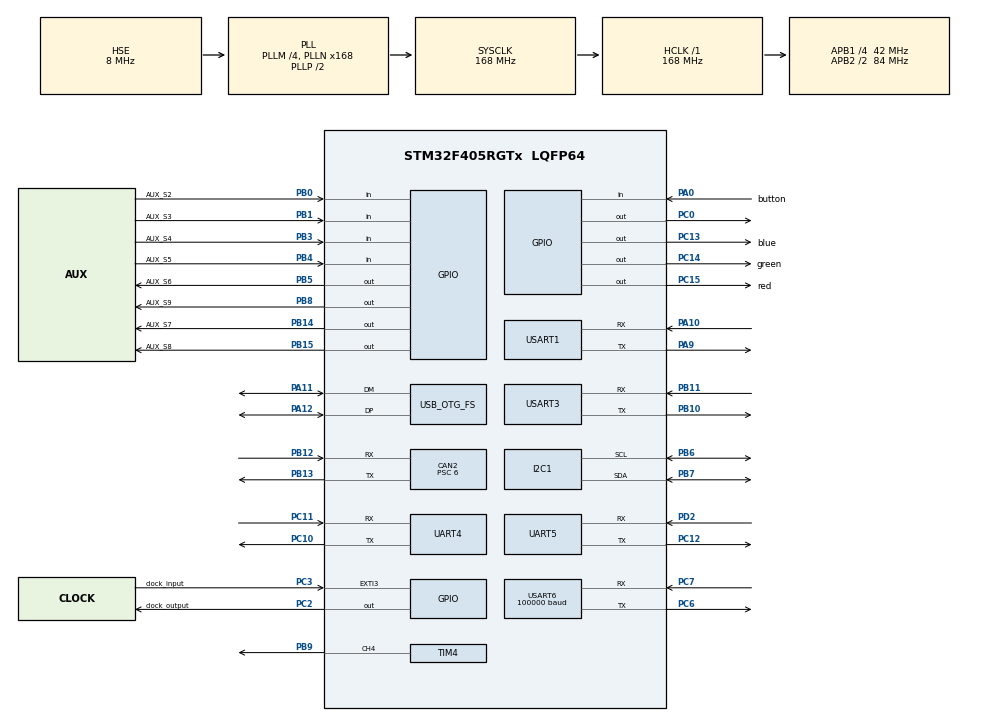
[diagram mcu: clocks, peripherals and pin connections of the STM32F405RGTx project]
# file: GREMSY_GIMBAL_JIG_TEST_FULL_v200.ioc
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CAN2.BS1=CAN_BS1_4TQ
CAN2.BS2=CAN_BS2_2TQ
CAN2.CalculateBaudRate=1000000
CAN2.CalculateTimeBit=1000
CAN2.CalculateTimeQuantum=142.85714285714286
CAN2.NART=ENABLE
CAN2.Prescaler=6
Dma.Request0=USART1_TX
Dma.Request1=USART1_RX
Dma.Request2=TIM4_UP
Dma.Request3=USART6_TX
Dma.Request4=UART4_TX
Dma.Request5=UART4_RX
Dma.Request6=USART3_TX
Dma.Request7=USART3_RX
Dma.Request8=UART5_TX
Dma.Request9=UART5_RX
Dma.TIM4_UP.2.Direction=DMA_MEMORY_TO_PERIPH
Dma.TIM4_UP.2.FIFOMode=DMA_FIFOMODE_ENABLE
Dma.TIM4_UP.2.FIFOThreshold=DMA_FIFO_THRESHOLD_FULL
Dma.TIM4_UP.2.Instance=DMA1_Stream6
Dma.TIM4_UP.2.MemBurst=DMA_MBURST_SINGLE
Dma.TIM4_UP.2.MemDataAlignment=DMA_MDATAALIGN_WORD
Dma.TIM4_UP.2.MemInc=DMA_MINC_ENABLE
Dma.TIM4_UP.2.Mode=DMA_CIRCULAR
Dma.TIM4_UP.2.PeriphBurst=DMA_PBURST_SINGLE
Dma.TIM4_UP.2.PeriphDataAlignment=DMA_PDATAALIGN_WORD
Dma.TIM4_UP.2.PeriphInc=DMA_PINC_DISABLE
Dma.TIM4_UP.2.Priority=DMA_PRIORITY_HIGH
Dma.UART4_RX.5.Direction=DMA_PERIPH_TO_MEMORY
Dma.UART4_RX.5.FIFOMode=DMA_FIFOMODE_DISABLE
Dma.UART4_RX.5.Instance=DMA1_Stream2
Dma.UART4_RX.5.MemDataAlignment=DMA_MDATAALIGN_BYTE
Dma.UART4_RX.5.MemInc=DMA_MINC_ENABLE
Dma.UART4_RX.5.Mode=DMA_CIRCULAR
Dma.UART4_RX.5.PeriphDataAlignment=DMA_PDATAALIGN_BYTE
Dma.UART4_RX.5.PeriphInc=DMA_PINC_DISABLE
Dma.UART4_RX.5.Priority=DMA_PRIORITY_HIGH
Dma.UART4_TX.4.Direction=DMA_MEMORY_TO_PERIPH
Dma.UART4_TX.4.FIFOMode=DMA_FIFOMODE_DISABLE
Dma.UART4_TX.4.Instance=DMA1_Stream4
Dma.UART4_TX.4.MemDataAlignment=DMA_MDATAALIGN_BYTE
Dma.UART4_TX.4.MemInc=DMA_MINC_ENABLE
Dma.UART4_TX.4.Mode=DMA_NORMAL
Dma.UART4_TX.4.PeriphDataAlignment=DMA_PDATAALIGN_BYTE
Dma.UART4_TX.4.PeriphInc=DMA_PINC_DISABLE
Dma.UART4_TX.4.Priority=DMA_PRIORITY_HIGH
Dma.UART5_RX.9.Direction=DMA_PERIPH_TO_MEMORY
Dma.UART5_RX.9.FIFOMode=DMA_FIFOMODE_DISABLE
Dma.UART5_RX.9.Instance=DMA1_Stream0
Dma.UART5_RX.9.MemDataAlignment=DMA_MDATAALIGN_BYTE
Dma.UART5_RX.9.MemInc=DMA_MINC_ENABLE
Dma.UART5_RX.9.Mode=DMA_CIRCULAR
Dma.UART5_RX.9.PeriphDataAlignment=DMA_PDATAALIGN_BYTE
Dma.UART5_RX.9.PeriphInc=DMA_PINC_DISABLE
Dma.UART5_RX.9.Priority=DMA_PRIORITY_HIGH
Dma.UART5_TX.8.Direction=DMA_MEMORY_TO_PERIPH
Dma.UART5_TX.8.FIFOMode=DMA_FIFOMODE_DISABLE
Dma.UART5_TX.8.Instance=DMA1_Stream7
Dma.UART5_TX.8.MemDataAlignment=DMA_MDATAALIGN_BYTE
Dma.UART5_TX.8.MemInc=DMA_MINC_ENABLE
Dma.UART5_TX.8.Mode=DMA_NORMAL
Dma.UART5_TX.8.PeriphDataAlignment=DMA_PDATAALIGN_BYTE
Dma.UART5_TX.8.PeriphInc=DMA_PINC_DISABLE
Dma.UART5_TX.8.Priority=DMA_PRIORITY_HIGH
Dma.USART1_RX.1.Direction=DMA_PERIPH_TO_MEMORY
Dma.USART1_RX.1.FIFOMode=DMA_FIFOMODE_DISABLE
Dma.USART1_RX.1.Instance=DMA2_Stream2
Dma.USART1_RX.1.MemDataAlignment=DMA_MDATAALIGN_BYTE
Dma.USART1_RX.1.MemInc=DMA_MINC_ENABLE
Dma.USART1_RX.1.Mode=DMA_CIRCULAR
Dma.USART1_RX.1.PeriphDataAlignment=DMA_PDATAALIGN_BYTE
Dma.USART1_RX.1.PeriphInc=DMA_PINC_DISABLE
Dma.USART1_RX.1.Priority=DMA_PRIORITY_LOW
Dma.USART1_TX.0.Direction=DMA_MEMORY_TO_PERIPH
Dma.USART1_TX.0.FIFOMode=DMA_FIFOMODE_DISABLE
Dma.USART1_TX.0.Instance=DMA2_Stream7
Dma.USART1_TX.0.MemDataAlignment=DMA_MDATAALIGN_BYTE
Dma.USART1_TX.0.MemInc=DMA_MINC_ENABLE
Dma.USART1_TX.0.Mode=DMA_NORMAL
Dma.USART1_TX.0.PeriphDataAlignment=DMA_PDATAALIGN_BYTE
Dma.USART1_TX.0.PeriphInc=DMA_PINC_DISABLE
Dma.USART1_TX.0.Priority=DMA_PRIORITY_LOW
Dma.USART3_RX.7.Direction=DMA_PERIPH_TO_MEMORY
Dma.USART3_RX.7.FIFOMode=DMA_FIFOMODE_DISABLE
Dma.USART3_RX.7.Instance=DMA1_Stream1
Dma.USART3_RX.7.MemDataAlignment=DMA_MDATAALIGN_BYTE
Dma.USART3_RX.7.MemInc=DMA_MINC_ENABLE
Dma.USART3_RX.7.Mode=DMA_CIRCULAR
Dma.USART3_RX.7.PeriphDataAlignment=DMA_PDATAALIGN_BYTE
Dma.USART3_RX.7.PeriphInc=DMA_PINC_DISABLE
Dma.USART3_RX.7.Priority=DMA_PRIORITY_HIGH
Dma.USART3_TX.6.Direction=DMA_MEMORY_TO_PERIPH
Dma.USART3_TX.6.FIFOMode=DMA_FIFOMODE_DISABLE
Dma.USART3_TX.6.Instance=DMA1_Stream3
Dma.USART3_TX.6.MemDataAlignment=DMA_MDATAALIGN_BYTE
Dma.USART3_TX.6.MemInc=DMA_MINC_ENABLE
Dma.USART3_TX.6.Mode=DMA_NORMAL
Dma.USART3_TX.6.PeriphDataAlignment=DMA_PDATAALIGN_BYTE
Dma.USART3_TX.6.PeriphInc=DMA_PINC_DISABLE
Dma.USART3_TX.6.Priority=DMA_PRIORITY_HIGH
Dma.USART6_TX.3.Direction=DMA_MEMORY_TO_PERIPH
Dma.USART6_TX.3.FIFOMode=DMA_FIFOMODE_DISABLE
Dma.USART6_TX.3.Instance=DMA2_Stream6
Dma.USART6_TX.3.MemDataAlignment=DMA_MDATAALIGN_BYTE
Dma.USART6_TX.3.MemInc=DMA_MINC_ENABLE
Dma.USART6_TX.3.Mode=DMA_NORMAL
Dma.USART6_TX.3.PeriphDataAlignment=DMA_PDATAALIGN_BYTE
Dma.USART6_TX.3.PeriphInc=DMA_PINC_DISABLE
Dma.USART6_TX.3.Priority=DMA_PRIORITY_HIGH
FATFS._FS_EXFAT=1
FATFS._MAX_SS=4096
FATFS._USE_LFN=1
I2C1.I2C_Mode=I2C_Fast
Mcu.Family=STM32F4
Mcu.Name=STM32F405RGTx
Mcu.Package=LQFP64
NVIC.CAN2_RX0_IRQn=true\:0\:0\:false\:false\:true\:true\:true
NVIC.CAN2_TX_IRQn=true\:0\:0\:false\:false\:true\:true\:true
NVIC.DMA1_Stream0_IRQn=true\:0\:0\:false\:false\:true\:false\:true
NVIC.DMA1_Stream1_IRQn=true\:0\:0\:false\:false\:true\:false\:true
NVIC.DMA1_Stream2_IRQn=true\:0\:0\:false\:false\:true\:false\:true
NVIC.DMA1_Stream3_IRQn=true\:0\:0\:false\:false\:true\:false\:true
NVIC.DMA1_Stream4_IRQn=true\:0\:0\:false\:false\:true\:false\:true
NVIC.DMA1_Stream6_IRQn=true\:0\:0\:false\:false\:true\:false\:true
NVIC.DMA1_Stream7_IRQn=true\:0\:0\:false\:false\:true\:false\:true
NVIC.DMA2_Stream2_IRQn=true\:0\:0\:false\:false\:true\:false\:true
NVIC.DMA2_Stream6_IRQn=true\:0\:0\:false\:false\:true\:false\:true
NVIC.DMA2_Stream7_IRQn=true\:0\:0\:false\:false\:true\:false\:true
NVIC.OTG_FS_IRQn=true\:0\:0\:false\:false\:true\:false\:true
NVIC.PriorityGroup=NVIC_PRIORITYGROUP_4
NVIC.TIM5_IRQn=true\:0\:0\:false\:false\:true\:true\:true
NVIC.UART4_IRQn=true\:0\:0\:false\:false\:true\:true\:true
NVIC.UART5_IRQn=true\:0\:0\:false\:false\:true\:true\:true
NVIC.USART1_IRQn=true\:0\:0\:false\:false\:true\:true\:true
NVIC.USART3_IRQn=true\:0\:0\:false\:false\:true\:true\:true
NVIC.USART6_IRQn=true\:0\:0\:false\:false\:true\:true\:true
PA0-WKUP.GPIO_Label=button
PA0-WKUP.GPIO_PuPd=GPIO_PULLUP
PA0-WKUP.Signal=GPIO_Input
PA10.Mode=Asynchronous
PA10.Signal=USART1_RX
PA11.Mode=Host_Only
PA11.Signal=USB_OTG_FS_DM
PA12.Mode=Host_Only
PA12.Signal=USB_OTG_FS_DP
PA13.Mode=Serial_Wire
PA13.Signal=SYS_JTMS-SWDIO
PA14.Mode=Serial_Wire
PA14.Signal=SYS_JTCK-SWCLK
PA9.Mode=Asynchronous
PA9.Signal=USART1_TX
PB0.GPIO_Label=AUX_S2
PB0.GPIO_Mode=GPIO_MODE_INPUT
PB0.GPIO_PuPd=GPIO_PULLUP
PB0.Signal=GPIO_Input
PB1.GPIO_Label=AUX_S3
PB1.GPIO_Mode=GPIO_MODE_INPUT
PB1.GPIO_PuPd=GPIO_PULLUP
PB1.Signal=GPIO_Input
PB10.Mode=Asynchronous
PB10.Signal=USART3_TX
PB11.Mode=Asynchronous
PB11.Signal=USART3_RX
PB12.Mode=CAN_Activate
PB12.Signal=CAN2_RX
PB13.Mode=CAN_Activate
PB13.Signal=CAN2_TX
PB14.GPIO_Label=AUX_S7
PB14.GPIO_ModeDefaultOutputPP=GPIO_MODE_OUTPUT_PP
PB14.GPIO_PuPd=GPIO_NOPULL
PB14.GPIO_Speed=GPIO_SPEED_FREQ_HIGH
PB14.PinState=GPIO_PIN_SET
PB14.Signal=GPIO_Output
PB15.GPIO_Label=AUX_S8
PB15.GPIO_ModeDefaultOutputPP=GPIO_MODE_OUTPUT_PP
PB15.GPIO_PuPd=GPIO_NOPULL
PB15.GPIO_Speed=GPIO_SPEED_FREQ_HIGH
PB15.PinState=GPIO_PIN_SET
PB15.Signal=GPIO_Output
PB3.GPIO_Label=AUX_S4
PB3.GPIO_Mode=GPIO_MODE_INPUT
PB3.GPIO_PuPd=GPIO_PULLUP
PB3.Signal=GPIO_Input
PB4.GPIO_Label=AUX_S5
PB4.GPIO_Mode=GPIO_MODE_INPUT
PB4.GPIO_PuPd=GPIO_PULLUP
PB4.Signal=GPIO_Input
PB5.GPIO_Label=AUX_S6
PB5.GPIO_Speed=GPIO_SPEED_FREQ_HIGH
PB5.PinState=GPIO_PIN_SET
PB5.Signal=GPIO_Output
PB6.Mode=I2C
PB6.Signal=I2C1_SCL
PB7.Mode=I2C
PB7.Signal=I2C1_SDA
PB8.GPIO_Label=AUX_S9
PB8.GPIO_ModeDefaultOutputPP=GPIO_MODE_OUTPUT_PP
PB8.GPIO_PuPd=GPIO_NOPULL
PB8.GPIO_Speed=GPIO_SPEED_FREQ_HIGH
PB8.PinState=GPIO_PIN_SET
PB8.Signal=GPIO_Output
PB9.Signal=S_TIM4_CH4
PC0.Signal=GPIO_Output
PC10.Mode=Asynchronous
PC10.Signal=UART4_TX
PC11.Mode=Asynchronous
PC11.Signal=UART4_RX
PC12.Mode=Asynchronous
PC12.Signal=UART5_TX
PC13-ANTI_TAMP.GPIO_Label=blue
PC13-ANTI_TAMP.Signal=GPIO_Output
PC14-OSC32_IN.GPIO_Label=green
PC14-OSC32_IN.Signal=GPIO_Output
PC15-OSC32_OUT.GPIO_Label=red
PC15-OSC32_OUT.Signal=GPIO_Output
PC2.GPIO_Label=clock_output
PC2.GPIO_ModeDefaultOutputPP=GPIO_MODE_OUTPUT_PP
PC2.GPIO_Speed=GPIO_SPEED_FREQ_HIGH
PC2.PinState=GPIO_PIN_SET
PC2.Signal=GPIO_Output
PC3.GPIO_Label=clock_input
PC3.GPIO_ModeDefaultEXTI=GPIO_MODE_IT_RISING_FALLING
PC3.GPIO_PuPd=GPIO_PULLUP
PC3.Signal=GPXTI3
PC6.Mode=Asynchronous
PC6.Signal=USART6_TX
PC7.Mode=Asynchronous
PC7.Signal=USART6_RX
PD2.Mode=Asynchronous
PD2.Signal=UART5_RX
PH0-OSC_IN.Mode=HSE-External-Oscillator
PH0-OSC_IN.Signal=RCC_OSC_IN
PH1-OSC_OUT.Mode=HSE-External-Oscillator
PH1-OSC_OUT.Signal=RCC_OSC_OUT
ProjectManager.HeapSize=0x200
ProjectManager.StackSize=0x400
ProjectManager.TargetToolchain=MDK-ARM V5.27
RCC.48MHZClocksFreq_Value=48000000
RCC.AHBFreq_Value=168000000
RCC.APB1CLKDivider=RCC_HCLK_DIV4
RCC.APB1Freq_Value=42000000
RCC.APB1TimFreq_Value=84000000
RCC.APB2CLKDivider=RCC_HCLK_DIV2
RCC.APB2Freq_Value=84000000
RCC.APB2TimFreq_Value=168000000
RCC.CortexFreq_Value=168000000
RCC.HCLKFreq_Value=168000000
RCC.HSE_VALUE=8000000
RCC.HSI_VALUE=16000000
RCC.LSE_VALUE=32768
RCC.PLLM=4
RCC.PLLN=168
RCC.PLLQ=7
RCC.SYSCLKFreq_VALUE=168000000
RCC.SYSCLKSource=RCC_SYSCLKSOURCE_PLLCLK
RCC.VCOOutputFreq_Value=336000000
SH.S_TIM4_CH4.0=TIM4_CH4,PWM Generation4 CH4
TIM4.AutoReloadPreload=TIM_AUTORELOAD_PRELOAD_DISABLE
TIM4.Channel-PWM\ Generation4\ CH4=TIM_CHANNEL_4
TIM4.OC4Preload_PWM=DISABLE
TIM4.Prescaler=83
TIM4.Pulse-PWM\ Generation4\ CH4=400
TIM5.AutoReloadPreload=TIM_AUTORELOAD_PRELOAD_ENABLE
TIM5.Prescaler=83
UART4.VirtualMode=Asynchronous
UART5.VirtualMode=Asynchronous
USART1.VirtualMode=VM_ASYNC
USART3.VirtualMode=VM_ASYNC
USART6.BaudRate=100000
USART6.Mode=MODE_TX
USART6.Parity=PARITY_EVEN
USART6.StopBits=STOPBITS_2
USART6.VirtualMode=VM_ASYNC
USART6.WordLength=WORDLENGTH_9B
USB_HOST.BSP.number=1
USB_HOST.USBH_HandleTypeDef-MSC_FS=hUsbHostFS
USB_HOST.VirtualModeFS=Msc
USB_HOST0.BSP.STBoard=false
USB_HOST0.BSP.api=Unknown
USB_HOST0.BSP.i2caddr=0
USB_HOST0.BSP.instance=PC0
USB_HOST0.BSP.ip=GPIO
USB_HOST0.BSP.mode=Output
USB_HOST0.BSP.name=Drive_VBUS_FS
USB_HOST0.BSP.solution=PC0
USB_OTG_FS.VirtualMode=Host_Only
USB_OTG_FS.phy_itface=HCD_PHY_EMBEDDED
VP_FATFS_VS_USB.Mode=USB
VP_RTC_VS_RTC_Activate.Mode=RTC_Enabled
VP_RTC_VS_RTC_Calendar.Mode=RTC_Calendar
VP_TIM4_VS_ClockSourceINT.Mode=Internal
VP_TIM5_VS_ClockSourceINT.Mode=Internal
VP_USB_HOST_VS_USB_HOST_MSC_FS.Mode=MSC_FS
board=custom

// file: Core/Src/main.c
/* USER CODE BEGIN Header */
/**
  ******************************************************************************
  * @file           : main.c
  * @brief          : Main program body
  ******************************************************************************
  * @attention
  *
  * <h2><center>&copy; Copyright (c) 2021 STMicroelectronics.
  * All rights reserved.</center></h2>
  *
  * This software component is licensed by ST under Ultimate Liberty license
  * SLA0044, the "License"; You may not use this file except in compliance with
  * the License. You may obtain a copy of the License at:
  *                             www.st.com/SLA0044
  *
  ******************************************************************************
  */
/* USER CODE END Header */
#include "main.h"
#include "fatfs.h"
#include "usb_host.h"

/* USER CODE BEGIN Includes */
#include "JIG_TEST_config.h"

#if (USE_LIBRARY_V1 == 1)
    #include "JIG_TEST_gimbal_FSTD.h"
#endif

#if (USE_LIBRARY_V2 == 1)
    #include "JIG_TEST_gimbal_FSTD_v2.h"
#endif

#if (COMM_ESP32 == 1)

    #include "JIG_TEST_CommEsp32.h"

#endif
/* USER CODE END Includes */

CAN_HandleTypeDef hcan2;

I2C_HandleTypeDef hi2c1;

TIM_HandleTypeDef htim4;
TIM_HandleTypeDef htim5;
DMA_HandleTypeDef hdma_tim4_up;

UART_HandleTypeDef huart4;
UART_HandleTypeDef huart5;
UART_HandleTypeDef huart1;
UART_HandleTypeDef huart3;
UART_HandleTypeDef huart6;
DMA_HandleTypeDef hdma_uart4_tx;
DMA_HandleTypeDef hdma_uart4_rx;
DMA_HandleTypeDef hdma_uart5_tx;
DMA_HandleTypeDef hdma_uart5_rx;
DMA_HandleTypeDef hdma_usart1_tx;
DMA_HandleTypeDef hdma_usart1_rx;
DMA_HandleTypeDef hdma_usart3_tx;
DMA_HandleTypeDef hdma_usart3_rx;
DMA_HandleTypeDef hdma_usart6_tx;

void SystemClock_Config(void);
static void MX_GPIO_Init(void);
static void MX_DMA_Init(void);
static void MX_USART1_UART_Init(void);
static void MX_TIM4_Init(void);
static void MX_USART6_UART_Init(void);
static void MX_I2C1_Init(void);
static void MX_UART4_Init(void);
static void MX_USART3_UART_Init(void);
static void MX_TIM5_Init(void);
static void MX_UART5_Init(void);
static void MX_RTC_Init(void);
static void MX_CAN2_Init(void);
void MX_USB_HOST_Process(void);

/* USER CODE BEGIN 0 */
//int _write(int file, char *ptr, int len)
//{
//  HAL_UART_Transmit(&huart1,(uint8_t *)ptr,len,10);
//  return len;
//}

#ifdef __GNUC__
#define PUTCHAR_PROTOTYPE int __io_putchar(int ch)
#else
#define PUTCHAR_PROTOTYPE int fputc(int ch, FILE *f)
#endif /* __GNUC__ */

/**
  * @brief  Retargets the C library printf function to the USART.
  * @param  None
  * @retval None
  */
PUTCHAR_PROTOTYPE
{
  HAL_UART_Transmit(&huart1, (uint8_t *)&ch, 1, HAL_MAX_DELAY);
  return ch;
}
/* USER CODE END 0 */

int main(void)
{
  /* USER CODE BEGIN 1 */
//    setbuf(stdout, NULL);
  /* USER CODE END 1 */

  /* MCU Configuration--------------------------------------------------------*/

  /* Reset of all peripherals, Initializes the Flash interface and the Systick. */
  HAL_Init();

  /* Configure the system clock */
  SystemClock_Config();

  /* Initialize all configured peripherals */
  MX_GPIO_Init();
  MX_DMA_Init();
  MX_USART1_UART_Init();
  MX_TIM4_Init();
  MX_USART6_UART_Init();
  MX_I2C1_Init();
  MX_UART4_Init();
  MX_USART3_UART_Init();
  MX_TIM5_Init();
  MX_UART5_Init();
  MX_RTC_Init();
  MX_CAN2_Init();
  MX_FATFS_Init();
  MX_USB_HOST_Init();
  /* USER CODE BEGIN 2 */
    HAL_Delay(100);

#if (USE_LIBRARY_V1 == 1)
    /// config all peripheral of library v1
    JIG_TEST_gimbal_FSTD_configuration();
#endif

#if (USE_LIBRARY_V2 == 1)
    /// config all peripheral of library v2
    JIG_TEST_gimbal_FSTD_v2_configuration();
#endif

#if (COMM_ESP32 == 1)
    /// config all peripheral of commEsp32
    JIG_TEST_CommEsp32_init();
#endif
  /* USER CODE END 2 */

  /* Infinite loop */
  /* USER CODE BEGIN WHILE */
  while (1)
  {
    #if (USE_LIBRARY_V1 == 1)
        /// process main test library v1
        JIG_TEST_gimbal_FSTD_control_process();
    #endif

    #if (USE_LIBRARY_V2 == 1)
        /// process main test library v2
        JIG_TEST_gimbal_FSTD_v2_main_process();
    #endif

    #if (COMM_ESP32 == 1)
            /// process commEsp32
            JIG_TEST_CommEsp32_process();
    #endif

    /* USER CODE END WHILE */
    MX_USB_HOST_Process();

  }
}

void SystemClock_Config(void)
{
  RCC_OscInitTypeDef RCC_OscInitStruct = {0};
  RCC_ClkInitTypeDef RCC_ClkInitStruct = {0};
  RCC_PeriphCLKInitTypeDef PeriphClkInitStruct = {0};

  /** Configure the main internal regulator output voltage
  */
  __HAL_RCC_PWR_CLK_ENABLE();
  __HAL_PWR_VOLTAGESCALING_CONFIG(PWR_REGULATOR_VOLTAGE_SCALE1);
  /** Initializes the RCC Oscillators according to the specified parameters
  * in the RCC_OscInitTypeDef structure.
  */
  RCC_OscInitStruct.OscillatorType = RCC_OSCILLATORTYPE_LSI|RCC_OSCILLATORTYPE_HSE;
  RCC_OscInitStruct.HSEState = RCC_HSE_ON;
  RCC_OscInitStruct.LSIState = RCC_LSI_ON;
  RCC_OscInitStruct.PLL.PLLState = RCC_PLL_ON;
  RCC_OscInitStruct.PLL.PLLSource = RCC_PLLSOURCE_HSE;
  RCC_OscInitStruct.PLL.PLLM = 4;
  RCC_OscInitStruct.PLL.PLLN = 168;
  RCC_OscInitStruct.PLL.PLLP = RCC_PLLP_DIV2;
  RCC_OscInitStruct.PLL.PLLQ = 7;
  if (HAL_RCC_OscConfig(&RCC_OscInitStruct) != HAL_OK)
  {
    Error_Handler();
  }
  /** Initializes the CPU, AHB and APB buses clocks
  */
  RCC_ClkInitStruct.ClockType = RCC_CLOCKTYPE_HCLK|RCC_CLOCKTYPE_SYSCLK
                              |RCC_CLOCKTYPE_PCLK1|RCC_CLOCKTYPE_PCLK2;
  RCC_ClkInitStruct.SYSCLKSource = RCC_SYSCLKSOURCE_PLLCLK;
  RCC_ClkInitStruct.AHBCLKDivider = RCC_SYSCLK_DIV1;
  RCC_ClkInitStruct.APB1CLKDivider = RCC_HCLK_DIV4;
  RCC_ClkInitStruct.APB2CLKDivider = RCC_HCLK_DIV2;

  if (HAL_RCC_ClockConfig(&RCC_ClkInitStruct, FLASH_LATENCY_5) != HAL_OK)
  {
    Error_Handler();
  }
  PeriphClkInitStruct.PeriphClockSelection = RCC_PERIPHCLK_RTC;
  PeriphClkInitStruct.RTCClockSelection = RCC_RTCCLKSOURCE_LSI;
  if (HAL_RCCEx_PeriphCLKConfig(&PeriphClkInitStruct) != HAL_OK)
  {
    Error_Handler();
  }
}

static void MX_CAN2_Init(void)
{

  hcan2.Instance = CAN2;
  hcan2.Init.Prescaler = 6;
  hcan2.Init.Mode = CAN_MODE_NORMAL;
  hcan2.Init.SyncJumpWidth = CAN_SJW_1TQ;
  hcan2.Init.TimeSeg1 = CAN_BS1_4TQ;
  hcan2.Init.TimeSeg2 = CAN_BS2_2TQ;
  hcan2.Init.TimeTriggeredMode = DISABLE;
  hcan2.Init.AutoBusOff = DISABLE;
  hcan2.Init.AutoWakeUp = DISABLE;
  hcan2.Init.AutoRetransmission = ENABLE;
  hcan2.Init.ReceiveFifoLocked = DISABLE;
  hcan2.Init.TransmitFifoPriority = DISABLE;
  if (HAL_CAN_Init(&hcan2) != HAL_OK)
  {
    Error_Handler();
  }

}

static void MX_I2C1_Init(void)
{

  hi2c1.Instance = I2C1;
  hi2c1.Init.ClockSpeed = 400000;
  hi2c1.Init.DutyCycle = I2C_DUTYCYCLE_2;
  hi2c1.Init.OwnAddress1 = 0;
  hi2c1.Init.AddressingMode = I2C_ADDRESSINGMODE_7BIT;
  hi2c1.Init.DualAddressMode = I2C_DUALADDRESS_DISABLE;
  hi2c1.Init.OwnAddress2 = 0;
  hi2c1.Init.GeneralCallMode = I2C_GENERALCALL_DISABLE;
  hi2c1.Init.NoStretchMode = I2C_NOSTRETCH_DISABLE;
  if (HAL_I2C_Init(&hi2c1) != HAL_OK)
  {
    Error_Handler();
  }

}

static void MX_RTC_Init(void)
{

  LL_RTC_InitTypeDef RTC_InitStruct = {0};
  LL_RTC_TimeTypeDef RTC_TimeStruct = {0};
  LL_RTC_DateTypeDef RTC_DateStruct = {0};

  /* Peripheral clock enable */
  LL_RCC_EnableRTC();

  /** Initialize RTC and set the Time and Date
  */
  RTC_InitStruct.HourFormat = LL_RTC_HOURFORMAT_24HOUR;
  RTC_InitStruct.AsynchPrescaler = 127;
  RTC_InitStruct.SynchPrescaler = 255;
  LL_RTC_Init(RTC, &RTC_InitStruct);
  LL_RTC_SetAsynchPrescaler(RTC, 127);
  LL_RTC_SetSynchPrescaler(RTC, 255);
  /** Initialize RTC and set the Time and Date
  */
  if(LL_RTC_BAK_GetRegister(RTC, LL_RTC_BKP_DR0) != 0x32F2){

  RTC_TimeStruct.Hours = 0;
  RTC_TimeStruct.Minutes = 0;
  RTC_TimeStruct.Seconds = 0;
  LL_RTC_TIME_Init(RTC, LL_RTC_FORMAT_BCD, &RTC_TimeStruct);
  RTC_DateStruct.WeekDay = LL_RTC_WEEKDAY_MONDAY;
  RTC_DateStruct.Month = LL_RTC_MONTH_JANUARY;
  RTC_DateStruct.Year = 0;
  LL_RTC_DATE_Init(RTC, LL_RTC_FORMAT_BCD, &RTC_DateStruct);
    LL_RTC_BAK_SetRegister(RTC,LL_RTC_BKP_DR0,0x32F2);
  }

}

static void MX_TIM4_Init(void)
{

  TIM_ClockConfigTypeDef sClockSourceConfig = {0};
  TIM_MasterConfigTypeDef sMasterConfig = {0};
  TIM_OC_InitTypeDef sConfigOC = {0};

  htim4.Instance = TIM4;
  htim4.Init.Prescaler = 83;
  htim4.Init.CounterMode = TIM_COUNTERMODE_UP;
  htim4.Init.Period = 65535;
  htim4.Init.ClockDivision = TIM_CLOCKDIVISION_DIV1;
  htim4.Init.AutoReloadPreload = TIM_AUTORELOAD_PRELOAD_DISABLE;
  if (HAL_TIM_Base_Init(&htim4) != HAL_OK)
  {
    Error_Handler();
  }
  sClockSourceConfig.ClockSource = TIM_CLOCKSOURCE_INTERNAL;
  if (HAL_TIM_ConfigClockSource(&htim4, &sClockSourceConfig) != HAL_OK)
  {
    Error_Handler();
  }
  if (HAL_TIM_PWM_Init(&htim4) != HAL_OK)
  {
    Error_Handler();
  }
  sMasterConfig.MasterOutputTrigger = TIM_TRGO_RESET;
  sMasterConfig.MasterSlaveMode = TIM_MASTERSLAVEMODE_DISABLE;
  if (HAL_TIMEx_MasterConfigSynchronization(&htim4, &sMasterConfig) != HAL_OK)
  {
    Error_Handler();
  }
  sConfigOC.OCMode = TIM_OCMODE_PWM1;
  sConfigOC.Pulse = 400;
  sConfigOC.OCPolarity = TIM_OCPOLARITY_HIGH;
  sConfigOC.OCFastMode = TIM_OCFAST_DISABLE;
  if (HAL_TIM_PWM_ConfigChannel(&htim4, &sConfigOC, TIM_CHANNEL_4) != HAL_OK)
  {
    Error_Handler();
  }
  __HAL_TIM_DISABLE_OCxPRELOAD(&htim4, TIM_CHANNEL_4);
  HAL_TIM_MspPostInit(&htim4);

}

static void MX_TIM5_Init(void)
{

  TIM_ClockConfigTypeDef sClockSourceConfig = {0};
  TIM_MasterConfigTypeDef sMasterConfig = {0};

  htim5.Instance = TIM5;
  htim5.Init.Prescaler = 83;
  htim5.Init.CounterMode = TIM_COUNTERMODE_UP;
  htim5.Init.Period = 4294967295;
  htim5.Init.ClockDivision = TIM_CLOCKDIVISION_DIV1;
  htim5.Init.AutoReloadPreload = TIM_AUTORELOAD_PRELOAD_ENABLE;
  if (HAL_TIM_Base_Init(&htim5) != HAL_OK)
  {
    Error_Handler();
  }
  sClockSourceConfig.ClockSource = TIM_CLOCKSOURCE_INTERNAL;
  if (HAL_TIM_ConfigClockSource(&htim5, &sClockSourceConfig) != HAL_OK)
  {
    Error_Handler();
  }
  sMasterConfig.MasterOutputTrigger = TIM_TRGO_RESET;
  sMasterConfig.MasterSlaveMode = TIM_MASTERSLAVEMODE_DISABLE;
  if (HAL_TIMEx_MasterConfigSynchronization(&htim5, &sMasterConfig) != HAL_OK)
  {
    Error_Handler();
  }

}

static void MX_UART4_Init(void)
{

  huart4.Instance = UART4;
  huart4.Init.BaudRate = 115200;
  huart4.Init.WordLength = UART_WORDLENGTH_8B;
  huart4.Init.StopBits = UART_STOPBITS_1;
  huart4.Init.Parity = UART_PARITY_NONE;
  huart4.Init.Mode = UART_MODE_TX_RX;
  huart4.Init.HwFlowCtl = UART_HWCONTROL_NONE;
  huart4.Init.OverSampling = UART_OVERSAMPLING_16;
  if (HAL_UART_Init(&huart4) != HAL_OK)
  {
    Error_Handler();
  }

}

static void MX_UART5_Init(void)
{

  huart5.Instance = UART5;
  huart5.Init.BaudRate = 115200;
  huart5.Init.WordLength = UART_WORDLENGTH_8B;
  huart5.Init.StopBits = UART_STOPBITS_1;
  huart5.Init.Parity = UART_PARITY_NONE;
  huart5.Init.Mode = UART_MODE_TX_RX;
  huart5.Init.HwFlowCtl = UART_HWCONTROL_NONE;
  huart5.Init.OverSampling = UART_OVERSAMPLING_16;
  if (HAL_UART_Init(&huart5) != HAL_OK)
  {
    Error_Handler();
  }

}

static void MX_USART1_UART_Init(void)
{

  huart1.Instance = USART1;
  huart1.Init.BaudRate = 115200;
  huart1.Init.WordLength = UART_WORDLENGTH_8B;
  huart1.Init.StopBits = UART_STOPBITS_1;
  huart1.Init.Parity = UART_PARITY_NONE;
  huart1.Init.Mode = UART_MODE_TX_RX;
  huart1.Init.HwFlowCtl = UART_HWCONTROL_NONE;
  huart1.Init.OverSampling = UART_OVERSAMPLING_16;
  if (HAL_UART_Init(&huart1) != HAL_OK)
  {
    Error_Handler();
  }

}

static void MX_USART3_UART_Init(void)
{

  huart3.Instance = USART3;
  huart3.Init.BaudRate = 115200;
  huart3.Init.WordLength = UART_WORDLENGTH_8B;
  huart3.Init.StopBits = UART_STOPBITS_1;
  huart3.Init.Parity = UART_PARITY_NONE;
  huart3.Init.Mode = UART_MODE_TX_RX;
  huart3.Init.HwFlowCtl = UART_HWCONTROL_NONE;
  huart3.Init.OverSampling = UART_OVERSAMPLING_16;
  if (HAL_UART_Init(&huart3) != HAL_OK)
  {
    Error_Handler();
  }

}

static void MX_USART6_UART_Init(void)
{

  huart6.Instance = USART6;
  huart6.Init.BaudRate = 100000;
  huart6.Init.WordLength = UART_WORDLENGTH_9B;
  huart6.Init.StopBits = UART_STOPBITS_2;
  huart6.Init.Parity = UART_PARITY_EVEN;
  huart6.Init.Mode = UART_MODE_TX;
  huart6.Init.HwFlowCtl = UART_HWCONTROL_NONE;
  huart6.Init.OverSampling = UART_OVERSAMPLING_16;
  if (HAL_UART_Init(&huart6) != HAL_OK)
  {
    Error_Handler();
  }

}

static void MX_DMA_Init(void)
{

  /* DMA controller clock enable */
  __HAL_RCC_DMA2_CLK_ENABLE();
  __HAL_RCC_DMA1_CLK_ENABLE();

  /* DMA interrupt init */
  /* DMA1_Stream0_IRQn interrupt configuration */
  HAL_NVIC_SetPriority(DMA1_Stream0_IRQn, 0, 0);
  HAL_NVIC_EnableIRQ(DMA1_Stream0_IRQn);
  /* DMA1_Stream1_IRQn interrupt configuration */
  HAL_NVIC_SetPriority(DMA1_Stream1_IRQn, 0, 0);
  HAL_NVIC_EnableIRQ(DMA1_Stream1_IRQn);
  /* DMA1_Stream2_IRQn interrupt configuration */
  HAL_NVIC_SetPriority(DMA1_Stream2_IRQn, 0, 0);
  HAL_NVIC_EnableIRQ(DMA1_Stream2_IRQn);
  /* DMA1_Stream3_IRQn interrupt configuration */
  HAL_NVIC_SetPriority(DMA1_Stream3_IRQn, 0, 0);
  HAL_NVIC_EnableIRQ(DMA1_Stream3_IRQn);
  /* DMA1_Stream4_IRQn interrupt configuration */
  HAL_NVIC_SetPriority(DMA1_Stream4_IRQn, 0, 0);
  HAL_NVIC_EnableIRQ(DMA1_Stream4_IRQn);
  /* DMA1_Stream6_IRQn interrupt configuration */
  HAL_NVIC_SetPriority(DMA1_Stream6_IRQn, 0, 0);
  HAL_NVIC_EnableIRQ(DMA1_Stream6_IRQn);
  /* DMA1_Stream7_IRQn interrupt configuration */
  HAL_NVIC_SetPriority(DMA1_Stream7_IRQn, 0, 0);
  HAL_NVIC_EnableIRQ(DMA1_Stream7_IRQn);
  /* DMA2_Stream2_IRQn interrupt configuration */
  HAL_NVIC_SetPriority(DMA2_Stream2_IRQn, 0, 0);
  HAL_NVIC_EnableIRQ(DMA2_Stream2_IRQn);
  /* DMA2_Stream6_IRQn interrupt configuration */
  HAL_NVIC_SetPriority(DMA2_Stream6_IRQn, 0, 0);
  HAL_NVIC_EnableIRQ(DMA2_Stream6_IRQn);
  /* DMA2_Stream7_IRQn interrupt configuration */
  HAL_NVIC_SetPriority(DMA2_Stream7_IRQn, 0, 0);
  HAL_NVIC_EnableIRQ(DMA2_Stream7_IRQn);

}

static void MX_GPIO_Init(void)
{
  GPIO_InitTypeDef GPIO_InitStruct = {0};

  /* GPIO Ports Clock Enable */
  __HAL_RCC_GPIOC_CLK_ENABLE();
  __HAL_RCC_GPIOH_CLK_ENABLE();
  __HAL_RCC_GPIOA_CLK_ENABLE();
  __HAL_RCC_GPIOB_CLK_ENABLE();
  __HAL_RCC_GPIOD_CLK_ENABLE();

  /*Configure GPIO pin Output Level */
  HAL_GPIO_WritePin(GPIOC, blue_Pin|green_Pin|red_Pin|GPIO_PIN_0, GPIO_PIN_RESET);

  /*Configure GPIO pin Output Level */
  HAL_GPIO_WritePin(clock_output_GPIO_Port, clock_output_Pin, GPIO_PIN_SET);

  /*Configure GPIO pin Output Level */
  HAL_GPIO_WritePin(GPIOB, AUX_S7_Pin|AUX_S8_Pin|AUX_S6_Pin|AUX_S9_Pin, GPIO_PIN_SET);

  /*Configure GPIO pins : blue_Pin green_Pin red_Pin PC0 */
  GPIO_InitStruct.Pin = blue_Pin|green_Pin|red_Pin|GPIO_PIN_0;
  GPIO_InitStruct.Mode = GPIO_MODE_OUTPUT_PP;
  GPIO_InitStruct.Pull = GPIO_NOPULL;
  GPIO_InitStruct.Speed = GPIO_SPEED_FREQ_LOW;
  HAL_GPIO_Init(GPIOC, &GPIO_InitStruct);

  /*Configure GPIO pin : clock_output_Pin */
  GPIO_InitStruct.Pin = clock_output_Pin;
  GPIO_InitStruct.Mode = GPIO_MODE_OUTPUT_PP;
  GPIO_InitStruct.Pull = GPIO_NOPULL;
  GPIO_InitStruct.Speed = GPIO_SPEED_FREQ_HIGH;
  HAL_GPIO_Init(clock_output_GPIO_Port, &GPIO_InitStruct);

  /*Configure GPIO pin : clock_input_Pin */
  GPIO_InitStruct.Pin = clock_input_Pin;
  GPIO_InitStruct.Mode = GPIO_MODE_IT_RISING_FALLING;
  GPIO_InitStruct.Pull = GPIO_PULLUP;
  HAL_GPIO_Init(clock_input_GPIO_Port, &GPIO_InitStruct);

  /*Configure GPIO pin : button_Pin */
  GPIO_InitStruct.Pin = button_Pin;
  GPIO_InitStruct.Mode = GPIO_MODE_INPUT;
  GPIO_InitStruct.Pull = GPIO_PULLUP;
  HAL_GPIO_Init(button_GPIO_Port, &GPIO_InitStruct);

  /*Configure GPIO pins : AUX_S2_Pin AUX_S3_Pin AUX_S4_Pin AUX_S5_Pin */
  GPIO_InitStruct.Pin = AUX_S2_Pin|AUX_S3_Pin|AUX_S4_Pin|AUX_S5_Pin;
  GPIO_InitStruct.Mode = GPIO_MODE_INPUT;
  GPIO_InitStruct.Pull = GPIO_PULLUP;
  HAL_GPIO_Init(GPIOB, &GPIO_InitStruct);

  /*Configure GPIO pins : AUX_S7_Pin AUX_S8_Pin AUX_S6_Pin AUX_S9_Pin */
  GPIO_InitStruct.Pin = AUX_S7_Pin|AUX_S8_Pin|AUX_S6_Pin|AUX_S9_Pin;
  GPIO_InitStruct.Mode = GPIO_MODE_OUTPUT_PP;
  GPIO_InitStruct.Pull = GPIO_NOPULL;
  GPIO_InitStruct.Speed = GPIO_SPEED_FREQ_HIGH;
  HAL_GPIO_Init(GPIOB, &GPIO_InitStruct);

}

void Error_Handler(void)
{
  __disable_irq();
  while (1)
  {
  }
}

/************************ (C) COPYRIGHT STMicroelectronics *****END OF FILE****/
